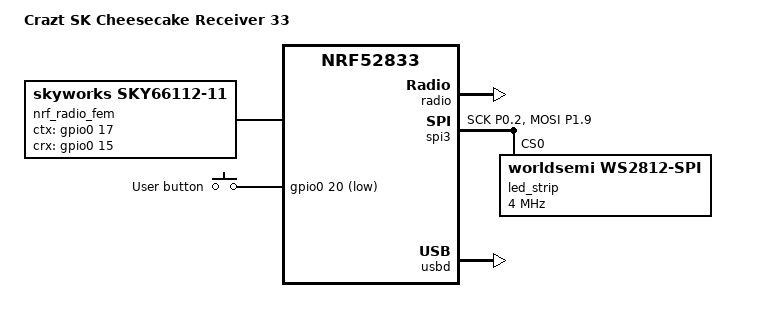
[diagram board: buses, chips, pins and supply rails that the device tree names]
// Copyright (c) 2026
// SPDX-License-Identifier: Apache-2.0

/dts-v1/;
#include <nordic/nrf52833_qiaa.dtsi>
#include <zephyr/dt-bindings/input/input-event-codes.h>
#include <zephyr/dt-bindings/led/led.h>

&pinctrl {
	spi3_default: spi3_default {
		group1 {
			psels = <NRF_PSEL(SPIM_SCK, 0, 2)>,
				<NRF_PSEL(SPIM_MOSI, 1, 9)>;
		};
	};

	spi3_sleep: spi3_sleep {
		group1 {
			psels = <NRF_PSEL(SPIM_SCK, 0, 2)>,
				<NRF_PSEL(SPIM_MOSI, 1, 9)>;
			low-power-enable;
		};
	};
};

/ {
	model = "Crazt SK Cheesecake Receiver 33";
	compatible = "crazt,sk-cheesecake-recv33";

	chosen {
		zephyr,sram = &sram0;
		zephyr,flash = &flash0;
		zephyr,console = &cdc_acm_uart0;
		zephyr,shell-uart = &cdc_acm_uart0;
		zephyr,uart-mcumgr = &cdc_acm_uart0;
	};

	nrf_radio_fem: radio-fem {
		compatible = "skyworks,sky66112-11", "radio-fem-two-ctrl-pins";
		ctx-gpios = <&gpio0 17 GPIO_ACTIVE_HIGH>;
		ctx-settle-time-us = <23>;
		crx-gpios = <&gpio0 15 GPIO_ACTIVE_HIGH>;
		crx-settle-time-us = <8>;
		tx-gain-db = <22>;
		rx-gain-db = <12>;
	};

	buttons {
		compatible = "gpio-keys";

		button0: button_0 {
			gpios = <&gpio0 20 (GPIO_PULL_UP | GPIO_ACTIVE_LOW)>;
			label = "User button";
			zephyr,code = <INPUT_KEY_0>;
		};
	};

	aliases {
		sw0 = &button0;
		mcuboot-button0 = &button0;
		led-strip = &led_strip;
		watchdog0 = &wdt0;
	};
};

&reg0 {
	status = "disabled";
};

&reg1 {
	regulator-initial-mode = <NRF5X_REG_MODE_LDO>;
};

&radio {
	fem = <&nrf_radio_fem>;
};

&gpio0 {
	status = "okay";
};

&gpio1 {
	status = "okay";
};

&gpiote {
	status = "okay";
};

&spi3 {
	status = "okay";
	/* Keep WS2812 traffic below the time-critical ESB radio/event IRQs. */
	interrupts = <47 3>;
	pinctrl-0 = <&spi3_default>;
	pinctrl-1 = <&spi3_sleep>;
	pinctrl-names = "default", "sleep";

	led_strip: ws2812@0 {
		compatible = "worldsemi,ws2812-spi";
		reg = <0>;
		spi-max-frequency = <4000000>;
		chain-length = <1>;
		color-mapping = <LED_COLOR_ID_GREEN
				 LED_COLOR_ID_RED
				 LED_COLOR_ID_BLUE>;
		reset-delay = <280>;
		spi-one-frame = <0x70>;
		spi-zero-frame = <0x40>;
	};
};

zephyr_udc0: &usbd {
	compatible = "nordic,nrf-usbd";
	status = "okay";

	cdc_acm_uart0: cdc_acm_uart0 {
		compatible = "zephyr,cdc-acm-uart";
	};
};

&nfct {
	status = "disabled";
};
